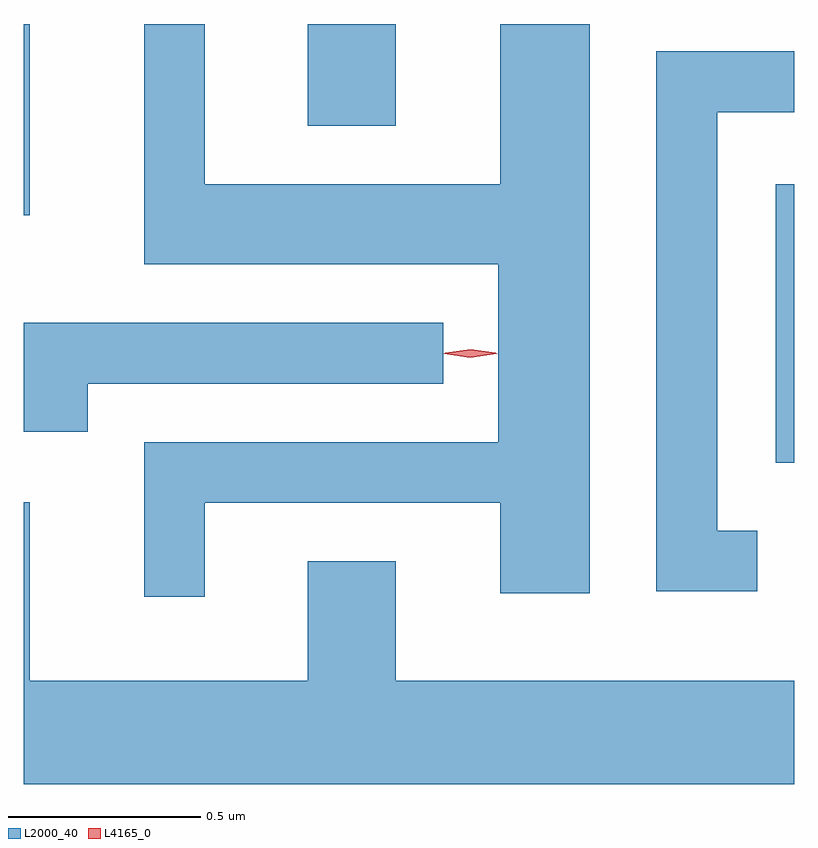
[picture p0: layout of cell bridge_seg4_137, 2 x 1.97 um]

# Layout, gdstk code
import gdstk
lib = gdstk.Library(unit=1e-6, precision=1e-09)
def R(c, l, rs):  # rectangles x0, y0, x1, y1
    for r in rs: c.add(gdstk.rectangle(r[:2], r[2:], *l))
def P(c, l, *ps):  # polygons
    for p in ps: c.add(gdstk.Polygon(p, *l))
L2000_40 = (2000, 40)
L4165_0 = (4165, 0)

bridge_seg4_137 = lib.new_cell('bridge_seg4_137')
R(bridge_seg4_137, L2000_40, [(781.336,1295.571,781.384,1296.294), (779.384,1296.213,779.399,1296.71), (780.121,1296.446,780.349,1296.71)])
P(bridge_seg4_137, L2000_40, [(779.854,1295.466),(780.621,1295.466),(780.621,1295.231),(780.854,1295.231),(780.854,1296.71),(780.621,1296.71),(780.621,1296.294),(779.854,1296.294),(779.854,1296.71),(779.696,1296.71),(779.696,1296.086),(780.616,1296.086),(780.616,1295.624),(779.696,1295.624),(779.696,1295.223),(779.854,1295.223)],
  [(781.288,1295.394),(781.184,1295.394),(781.184,1296.481),(781.384,1296.481),(781.384,1296.639),(781.026,1296.639),(781.026,1295.236),(781.288,1295.236)],
  [(779.549,1295.776),(780.473,1295.776),(780.473,1295.934),(779.384,1295.934),(779.384,1295.651),(779.549,1295.651)],
  [(781.384,1295.004),(780.349,1295.004),(780.349,1295.314),(780.121,1295.314),(780.121,1295.004),(779.399,1295.004),(779.399,1295.468),(779.384,1295.468),(779.384,1294.736),(781.384,1294.736)])
P(bridge_seg4_137, L4165_0, [(780.543,1295.843),(780.474,1295.853),(780.474,1295.853),(780.474,1295.854),(780.543,1295.863),(780.612,1295.854),(780.613,1295.853),(780.612,1295.853)],
  [(780.544,1295.845),(780.478,1295.854),(780.477,1295.855),(780.478,1295.856),(780.544,1295.865),(780.609,1295.856),(780.61,1295.855),(780.609,1295.854)])

lib.write_gds('bridge_seg4_137.gds')
